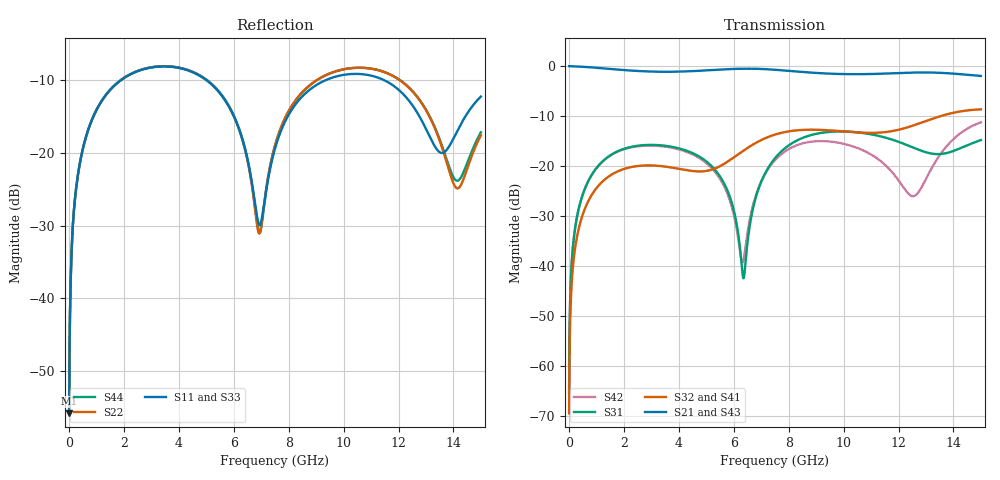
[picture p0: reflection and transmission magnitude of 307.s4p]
! Created with skrf 1.8.0 (http://scikit-rf.org).
# GHz S RI R 50.0
!freq ReS11 ImS11 ReS12 ImS12 ReS13 ImS13
! ReS14 ImS14
! ReS21 ImS21 ReS22 ImS22 ReS23 ImS23
! ReS24 ImS24
! ReS31 ImS31 ReS32 ImS32 ReS33 ImS33
! ReS34 ImS34
! ReS41 ImS41 ReS42 ImS42 ReS43 ImS43
! ReS44 ImS44
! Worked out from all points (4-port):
!   2499 points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, 5 MHz to 15 GHz, reference 50 ohm
!   strongest paths, dB at 5 MHz, 3.476 GHz, 7.19 GHz, 11.1 GHz, 15 GHz:
!     S21: 0.0, -1.1, -0.6, -1.6, -2.0
!     S43: 0.0, -1.1, -0.6, -1.6, -2.0
!     S32: -69.5, -20.1, -14.3, -13.3, -8.6
!     S41: -69.5, -20.1, -14.3, -13.4, -8.7
!     S31: -65.4, -15.9, -21.0, -13.7, -14.8
!     S42: -65.4, -16.1, -21.1, -18.0, -11.2
!   lowest |S11| = -55.8 dB at 5 MHz (marker M1), VSWR 1.00, Z = 50.1 + j0.0985 ohm
!   |S11| at or under -10 dB: start of sweep to 1.906 GHz; 4.991 GHz to 9.371 GHz (4.38 GHz wide, 61 % of centre); 11.45 GHz to end of sweep
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0.005  0.0013 0.000982  0.9987 -0.00253  6.48e-05 0.000533  -6.29e-05 -0.00033
       0.9987 -0.00253  0.0013 0.000982  -6.29e-05 -0.00033  6.48e-05 0.000533
       6.48e-05 0.000533  -6.29e-05 -0.00033  0.0013 0.000982  0.9987 -0.00253
       -6.29e-05 -0.00033  6.48e-05 0.000533  0.9987 -0.00253  0.0013 0.000982
0.3626511  0.0202 0.0753  0.9723 -0.1824  0.00977 0.037  -0.00795 -0.0228
           0.9723 -0.1824  0.0202 0.0753  -0.00796 -0.0228  0.00945 0.0371
           0.00977 0.037  -0.00796 -0.0228  0.0202 0.0753  0.9723 -0.1824
           -0.00795 -0.0228  0.00945 0.0371  0.9723 -0.1824  0.0202 0.0752
1.875782  0.2539 0.1835  0.5806 -0.7116  0.1288 0.0655  -0.0902 -0.0113
          0.5806 -0.7116  0.2551 0.1828  -0.0902 -0.0112  0.1245 0.0709
          0.1288 0.0655  -0.0902 -0.0112  0.2539 0.1836  0.5805 -0.7116
          -0.0902 -0.0113  0.1245 0.0709  0.5805 -0.7116  0.2553 0.1828
6.352647  0.0576 -0.1016  -0.8854 -0.3217  -0.00752 -0.000564  -0.0456 0.1352
          -0.8854 -0.3217  0.0531 -0.1029  -0.0441 0.1357  -0.0113 0.000762
          -0.00752 -0.000564  -0.0441 0.1357  0.0585 -0.1034  -0.8851 -0.3219
          -0.0456 0.1352  -0.0113 0.000762  -0.8851 -0.3219  0.0536 -0.1048
6.902876  0.0315 -0.00857  -0.9354 -0.0755  0.0102 0.0584  -0.0108 0.1761
          -0.9354 -0.0755  0.0277 -0.0061  -0.00891 0.1762  -0.00628 0.0602
          0.0102 0.0584  -0.00891 0.1762  0.0319 -0.0108  -0.9353 -0.0757
          -0.0108 0.1761  -0.00628 0.0602  -0.9353 -0.0757  0.0276 -0.00816
10.98583  0.3357 -0.0457  0.0811 0.8297  0.1172 -0.1721  0.2 -0.0764
          0.0811 0.8297  0.3683 -0.0846  0.1994 -0.0802  0.1302 -0.0167
          0.1172 -0.1721  0.1994 -0.0802  0.3349 -0.0469  0.0828 0.8294
          0.2 -0.0764  0.1302 -0.0167  0.0828 0.8294  0.3689 -0.0844
15  0.2136 0.1159  0.7526 -0.2635  0.0587 0.1723  -0.1623 -0.3291
    0.7526 -0.2635  0.1099 0.0725  -0.169 -0.3288  0.2281 0.1516
    0.0587 0.1723  -0.169 -0.3288  0.2059 0.116  0.7515 -0.2674
    -0.1623 -0.3291  0.2281 0.1516  0.7515 -0.2674  0.1196 0.0692
